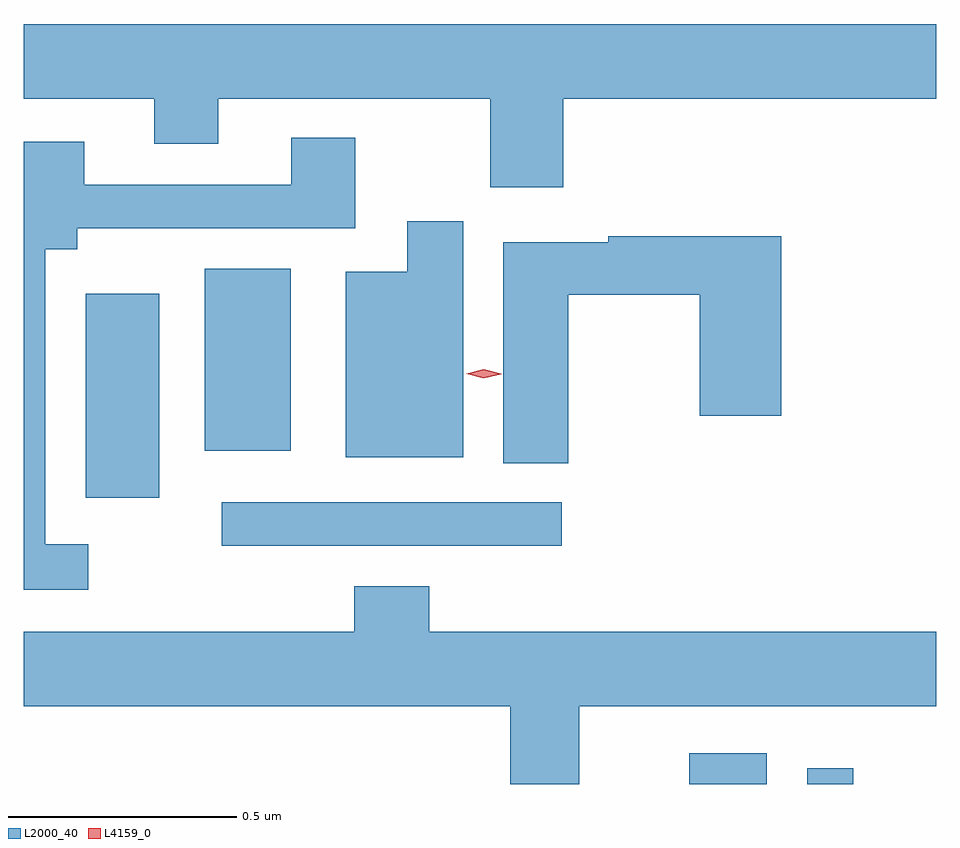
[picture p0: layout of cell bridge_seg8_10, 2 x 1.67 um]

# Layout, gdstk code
import gdstk
lib = gdstk.Library(unit=1e-6, precision=1e-09)
def R(c, l, rs):  # rectangles x0, y0, x1, y1
    for r in rs: c.add(gdstk.rectangle(r[:2], r[2:], *l))
def P(c, l, *ps):  # polygons
    for p in ps: c.add(gdstk.Polygon(p, *l))
L2000_40 = (2000, 40)
L4159_0 = (4159, 0)

bridge_seg8_10 = lib.new_cell('bridge_seg8_10')
R(bridge_seg8_10, L2000_40, [(940.982,1157.622,941.152,1157.689), (941.24,1157.622,941.341,1157.656), (939.957,1158.144,940.702,1158.24), (939.659,1158.249,939.82,1158.697), (939.92,1158.353,940.108,1158.751)])
P(bridge_seg8_10, L2000_40, [(940.706,1159.124),(941.523,1159.124),(941.523,1159.288),(939.523,1159.288),(939.523,1159.124),(939.809,1159.124),(939.809,1159.025),(939.949,1159.025),(939.949,1159.124),(940.546,1159.124),(940.546,1158.93),(940.706,1158.93)],
  [(939.664,1158.148),(939.57,1158.148),(939.57,1158.794),(939.64,1158.794),(939.64,1158.84),(940.249,1158.84),(940.249,1159.039),(940.109,1159.039),(940.109,1158.936),(939.655,1158.936),(939.655,1159.03),(939.523,1159.03),(939.523,1158.048),(939.664,1158.048)],
  [(940.486,1158.856),(940.364,1158.856),(940.364,1158.745),(940.229,1158.745),(940.229,1158.338),(940.486,1158.338)],
  [(940.716,1158.694),(941.005,1158.694),(941.005,1158.429),(941.183,1158.429),(941.183,1158.823),(940.804,1158.823),(940.804,1158.81),(940.574,1158.81),(940.574,1158.325),(940.716,1158.325)],
  [(940.741,1157.792),(941.523,1157.792),(941.523,1157.956),(940.412,1157.956),(940.412,1158.055),(940.247,1158.055),(940.247,1157.956),(939.523,1157.956),(939.523,1157.792),(940.589,1157.792),(940.589,1157.622),(940.741,1157.622)])
P(bridge_seg8_10, L4159_0, [(940.531,1158.511),(940.493,1158.521),(940.493,1158.521),(940.493,1158.521),(940.531,1158.531),(940.57,1158.521),(940.57,1158.521),(940.57,1158.52)])

lib.write_gds('bridge_seg8_10.gds')
